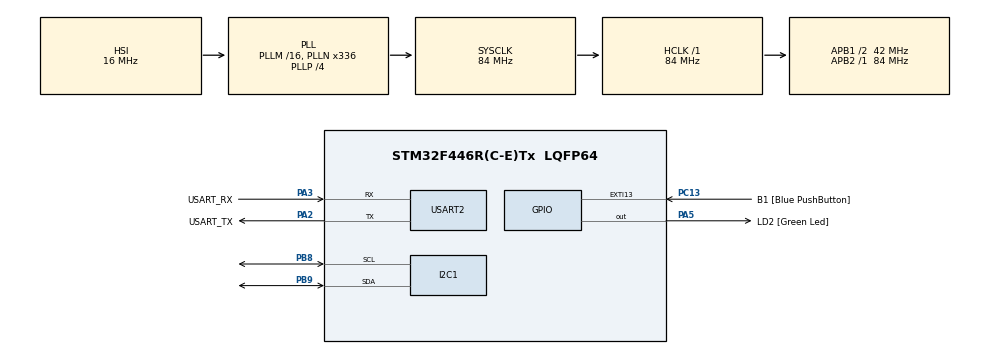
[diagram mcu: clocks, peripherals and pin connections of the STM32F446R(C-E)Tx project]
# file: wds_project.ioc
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Mcu.Family=STM32F4
Mcu.Name=STM32F446R(C-E)Tx
Mcu.Package=LQFP64
NVIC.PriorityGroup=NVIC_PRIORITYGROUP_0
PA13.GPIO_Label=TMS
PA13.Mode=Serial_Wire
PA13.Signal=SYS_JTMS-SWDIO
PA14.GPIO_Label=TCK
PA14.Mode=Serial_Wire
PA14.Signal=SYS_JTCK-SWCLK
PA2.GPIO_Label=USART_TX
PA2.Mode=Asynchronous
PA2.Signal=USART2_TX
PA3.GPIO_Label=USART_RX
PA3.Mode=Asynchronous
PA3.Signal=USART2_RX
PA5.GPIO_Label=LD2 [Green Led]
PA5.Signal=GPIO_Output
PB3.GPIO_Label=SWO
PB3.Signal=SYS_JTDO-SWO
PB8.Mode=I2C
PB8.Signal=I2C1_SCL
PB9.Mode=I2C
PB9.Signal=I2C1_SDA
PC13.GPIO_Label=B1 [Blue PushButton]
PC13.GPIO_ModeDefaultEXTI=GPIO_MODE_IT_FALLING
PC13.Signal=GPXTI13
PC14-OSC32_IN.Mode=LSE-External-Oscillator
PC14-OSC32_IN.Signal=RCC_OSC32_IN
PC15-OSC32_OUT.Mode=LSE-External-Oscillator
PC15-OSC32_OUT.Signal=RCC_OSC32_OUT
PH0-OSC_IN.Mode=HSE-External-Oscillator
PH0-OSC_IN.Signal=RCC_OSC_IN
PH1-OSC_OUT.Mode=HSE-External-Oscillator
PH1-OSC_OUT.Signal=RCC_OSC_OUT
ProjectManager.HeapSize=0x200
ProjectManager.StackSize=0x400
ProjectManager.TargetToolchain=STM32CubeIDE
RCC.48MHZClocksFreq_Value=84000000
RCC.AHBFreq_Value=84000000
RCC.APB1CLKDivider=RCC_HCLK_DIV2
RCC.APB1Freq_Value=42000000
RCC.APB1TimFreq_Value=84000000
RCC.APB2Freq_Value=84000000
RCC.APB2TimFreq_Value=84000000
RCC.CortexFreq_Value=84000000
RCC.FLatency-AdvancedSettings=FLASH_LATENCY_2
RCC.HCLKFreq_Value=84000000
RCC.HSE_VALUE=8000000
RCC.HSI_VALUE=16000000
RCC.PLLN=336
RCC.PLLP=RCC_PLLP_DIV4
RCC.SYSCLKFreq_VALUE=84000000
RCC.SYSCLKSource=RCC_SYSCLKSOURCE_PLLCLK
RCC.USBFreq_Value=168000000
RCC.VCOOutputFreq_Value=336000000
USART2.VirtualMode=VM_ASYNC
board=NUCLEO-F446RE

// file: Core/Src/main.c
/* USER CODE BEGIN Header */
/**
  ******************************************************************************
  * @file           : main.c
  * @brief          : Main program body
  ******************************************************************************
  * @attention
  *
  * <h2><center>&copy; Copyright (c) 2024 STMicroelectronics.
  * All rights reserved.</center></h2>
  *
  * This software component is licensed by ST under BSD 3-Clause license,
  * the "License"; You may not use this file except in compliance with the
  * License. You may obtain a copy of the License at:
  *                        opensource.org/licenses/BSD-3-Clause
  *
  ******************************************************************************
  */
/* USER CODE END Header */
#include "main.h"
#include "i2c.h"
#include "usart.h"
#include "gpio.h"

/* USER CODE BEGIN Includes */
#include "TJ_MPU6050.h"
#include "stdio.h"
/* USER CODE END Includes */

/* USER CODE BEGIN PV */
ScaledData_Def accelScaled;
unsigned short int zmienna;
char _Buffor[50];
/* USER CODE END PV */

void SystemClock_Config(void);

/* USER CODE BEGIN 0 */
int _write(int file, char *ptr, int len){
	HAL_UART_Transmit(&huart2, (uint8_t*)ptr, len, 50);
	return len;
}

unsigned short int ComputeCRC8(char* pData, int Length, unsigned int Poly, unsigned short int InitVal)
{
    unsigned short int ResCRC = InitVal;

    while (--Length >= 0) {
        ResCRC ^= *pData++;
        for (short int i=0; i < 8; ++i)
            ResCRC = ResCRC & 0x80 ? (ResCRC << 1) ^ Poly : ResCRC << 1;
    }
    return ResCRC & 0xFF;
}
/* USER CODE END 0 */

int main(void)
{
  /* USER CODE BEGIN 1 */
MPU_ConfigTypeDef myMPUConfig;
  /* USER CODE END 1 */

  /* MCU Configuration--------------------------------------------------------*/

  /* Reset of all peripherals, Initializes the Flash interface and the Systick. */
  HAL_Init();

  /* Configure the system clock */
  SystemClock_Config();

  /* Initialize all configured peripherals */
  MX_GPIO_Init();
  MX_USART2_UART_Init();
  MX_I2C1_Init();
  MPU6050_Init(&hi2c1);
  /* USER CODE BEGIN 2 */
  myMPUConfig.Accel_Full_Scale = AFS_SEL_4g;
  myMPUConfig.ClockSource = Internal_8MHz;
  myMPUConfig.CONFIG_DLPF = DLPF_184A_188G_Hz;
  myMPUConfig.Gyro_Full_Scale = FS_SEL_500;
  myMPUConfig.Sleep_Mode_Bit = 0;  //1: sleep mode, 0: normal mode
	MPU6050_Config(&myMPUConfig);
  /* USER CODE END 2 */

  /* Infinite loop */
  while (1)
  {

    /* USER CODE BEGIN 3 */
	  MPU6050_Get_Accel_Scale(&accelScaled);
	  snprintf(_Buffor, sizeof(_Buffor), "s %d %d %d", (int)accelScaled.x, (int)accelScaled.y, (int)accelScaled.z);
	 zmienna= ComputeCRC8(_Buffor, sizeof(_Buffor), 0x39, 0x00);
	  //printf("s %d %d %d %d\n", (int)accelScaled.x, (int)accelScaled.y, (int)accelScaled.z, (int)zmienna);

	  printf("s %d %d %d %d\n", (int)accelScaled.x, (int)accelScaled.y, (int)accelScaled.z, zmienna);

	  HAL_Delay(50);
	  memset(_Buffor, 0, sizeof _Buffor);
  }
  /* USER CODE END 3 */
}

void SystemClock_Config(void)
{
  RCC_OscInitTypeDef RCC_OscInitStruct = {0};
  RCC_ClkInitTypeDef RCC_ClkInitStruct = {0};

  /** Configure the main internal regulator output voltage
  */
  __HAL_RCC_PWR_CLK_ENABLE();
  __HAL_PWR_VOLTAGESCALING_CONFIG(PWR_REGULATOR_VOLTAGE_SCALE3);
  /** Initializes the RCC Oscillators according to the specified parameters
  * in the RCC_OscInitTypeDef structure.
  */
  RCC_OscInitStruct.OscillatorType = RCC_OSCILLATORTYPE_HSI;
  RCC_OscInitStruct.HSIState = RCC_HSI_ON;
  RCC_OscInitStruct.HSICalibrationValue = RCC_HSICALIBRATION_DEFAULT;
  RCC_OscInitStruct.PLL.PLLState = RCC_PLL_ON;
  RCC_OscInitStruct.PLL.PLLSource = RCC_PLLSOURCE_HSI;
  RCC_OscInitStruct.PLL.PLLM = 16;
  RCC_OscInitStruct.PLL.PLLN = 336;
  RCC_OscInitStruct.PLL.PLLP = RCC_PLLP_DIV4;
  RCC_OscInitStruct.PLL.PLLQ = 2;
  RCC_OscInitStruct.PLL.PLLR = 2;
  if (HAL_RCC_OscConfig(&RCC_OscInitStruct) != HAL_OK)
  {
    Error_Handler();
  }
  /** Initializes the CPU, AHB and APB buses clocks
  */
  RCC_ClkInitStruct.ClockType = RCC_CLOCKTYPE_HCLK|RCC_CLOCKTYPE_SYSCLK
                              |RCC_CLOCKTYPE_PCLK1|RCC_CLOCKTYPE_PCLK2;
  RCC_ClkInitStruct.SYSCLKSource = RCC_SYSCLKSOURCE_PLLCLK;
  RCC_ClkInitStruct.AHBCLKDivider = RCC_SYSCLK_DIV1;
  RCC_ClkInitStruct.APB1CLKDivider = RCC_HCLK_DIV2;
  RCC_ClkInitStruct.APB2CLKDivider = RCC_HCLK_DIV1;

  if (HAL_RCC_ClockConfig(&RCC_ClkInitStruct, FLASH_LATENCY_2) != HAL_OK)
  {
    Error_Handler();
  }
}

void Error_Handler(void)
{
}

/************************ (C) COPYRIGHT STMicroelectronics *****END OF FILE****/
